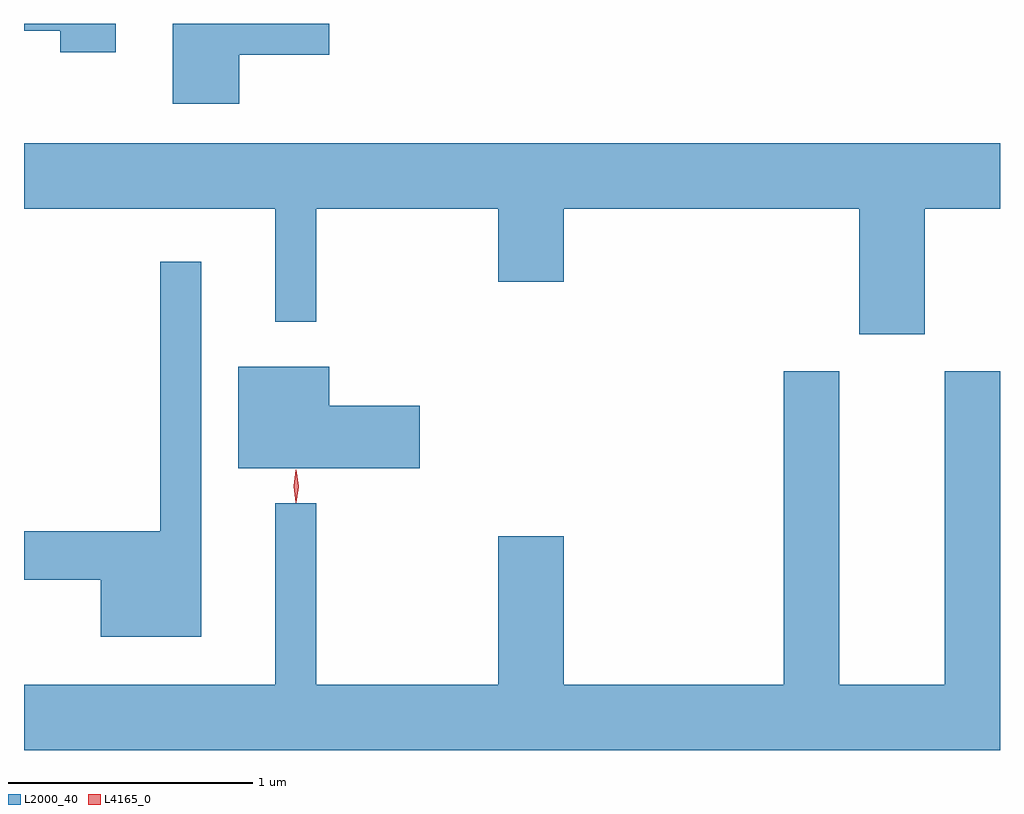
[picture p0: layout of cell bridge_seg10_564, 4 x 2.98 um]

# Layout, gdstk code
import gdstk
lib = gdstk.Library(unit=1e-6, precision=1e-09)
def P(c, l, *ps):  # polygons
    for p in ps: c.add(gdstk.Polygon(p, *l))
L2000_40 = (2000, 40)
L4165_0 = (4165, 0)

bridge_seg10_564 = lib.new_cell('bridge_seg10_564')
P(bridge_seg10_564, L2000_40, [(633.594,2183.366),(633.964,2183.366),(633.964,2183.494),(633.321,2183.494),(633.321,2183.166),(633.594,2183.166)],
  [(633.089,2183.494),(632.712,2183.494),(632.712,2183.466),(632.861,2183.466),(632.861,2183.376),(633.089,2183.376)],
  [(636.404,2182.736),(636.712,2182.736),(636.712,2183.004),(632.712,2183.004),(632.712,2182.736),(633.741,2182.736),(633.741,2182.273),(633.909,2182.273),(633.909,2182.736),(634.656,2182.736),(634.656,2182.436),(634.924,2182.436),(634.924,2182.736),(636.136,2182.736),(636.136,2182.221),(636.404,2182.221)],
  [(633.439,2182.518),(633.271,2182.518),(633.271,2181.414),(632.712,2181.414),(632.712,2181.216),(633.026,2181.216),(633.026,2180.981),(633.439,2180.981)],
  [(634.334,2181.929),(633.964,2181.929),(633.964,2182.089),(633.591,2182.089),(633.591,2181.671),(634.334,2181.671)],
  [(636.712,2182.069),(636.486,2182.069),(636.486,2180.784),(636.054,2180.784),(636.054,2182.069),(635.826,2182.069),(635.826,2180.784),(634.924,2180.784),(634.924,2181.394),(634.656,2181.394),(634.656,2180.784),(633.909,2180.784),(633.909,2181.528),(633.741,2181.528),(633.741,2180.784),(632.712,2180.784),(632.712,2180.516),(636.712,2180.516)])
P(bridge_seg10_564, L4165_0, [(633.826,2181.533),(633.817,2181.596),(633.826,2181.66),(633.827,2181.66),(633.827,2181.66),(633.837,2181.596),(633.827,2181.533),(633.827,2181.533)],
  [(633.826,2181.53),(633.817,2181.598),(633.826,2181.666),(633.827,2181.666),(633.827,2181.666),(633.837,2181.598),(633.827,2181.53),(633.827,2181.53)])

lib.write_gds('bridge_seg10_564.gds')
